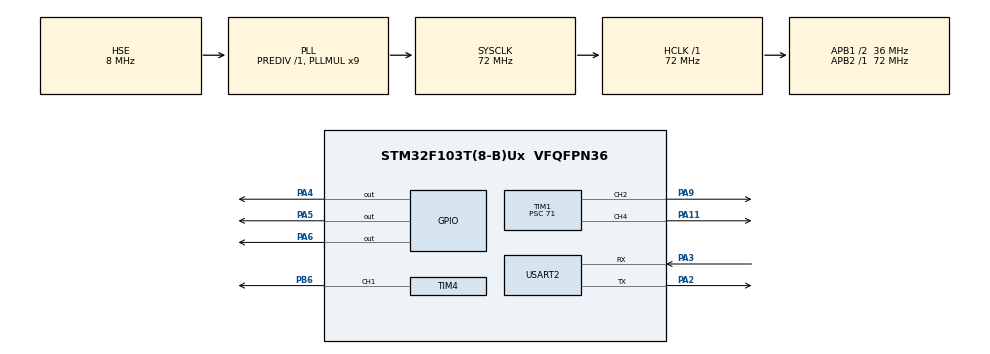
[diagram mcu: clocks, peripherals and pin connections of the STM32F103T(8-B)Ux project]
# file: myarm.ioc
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Mcu.Family=STM32F1
Mcu.Name=STM32F103T(8-B)Ux
Mcu.Package=VFQFPN36
NVIC.PriorityGroup=NVIC_PRIORITYGROUP_4
NVIC.USART2_IRQn=true\:0\:0\:false\:false\:true\:true\:true\:true
PA11.Signal=S_TIM1_CH4
PA2.Mode=Asynchronous
PA2.Signal=USART2_TX
PA3.Mode=Asynchronous
PA3.Signal=USART2_RX
PA4.Signal=GPIO_Output
PA5.Signal=GPIO_Output
PA6.Signal=GPIO_Output
PA9.Signal=S_TIM1_CH2
PB6.Signal=S_TIM4_CH1
PD0-OSC_IN.Mode=HSE-External-Oscillator
PD0-OSC_IN.Signal=RCC_OSC_IN
PD1-OSC_OUT.Mode=HSE-External-Oscillator
PD1-OSC_OUT.Signal=RCC_OSC_OUT
ProjectManager.HeapSize=0x200
ProjectManager.StackSize=0x400
ProjectManager.TargetToolchain=Makefile
RCC.AHBFreq_Value=72000000
RCC.APB1CLKDivider=RCC_HCLK_DIV2
RCC.APB1Freq_Value=36000000
RCC.APB1TimFreq_Value=72000000
RCC.APB2Freq_Value=72000000
RCC.APB2TimFreq_Value=72000000
RCC.HCLKFreq_Value=72000000
RCC.PLLMUL=RCC_PLL_MUL9
RCC.PLLSourceVirtual=RCC_PLLSOURCE_HSE
RCC.SYSCLKFreq_VALUE=72000000
RCC.SYSCLKSource=RCC_SYSCLKSOURCE_PLLCLK
RCC.USBFreq_Value=72000000
SH.S_TIM1_CH2.0=TIM1_CH2,PWM Generation2 CH2
SH.S_TIM1_CH4.0=TIM1_CH4,PWM Generation4 CH4
SH.S_TIM4_CH1.0=TIM4_CH1,PWM Generation1 CH1
TIM1.Channel-PWM\ Generation2\ CH2=TIM_CHANNEL_2
TIM1.Channel-PWM\ Generation4\ CH4=TIM_CHANNEL_4
TIM1.Period=19999
TIM1.Prescaler=71
TIM1.Pulse-PWM\ Generation2\ CH2=0
TIM1.Pulse-PWM\ Generation4\ CH4=0
TIM4.Channel-PWM\ Generation1\ CH1=TIM_CHANNEL_1
TIM4.Period=19999
TIM4.Prescaler=71
TIM4.Pulse-PWM\ Generation1\ CH1=0
USART2.VirtualMode=VM_ASYNC
VP_SYS_VS_ND.Mode=No_Debug
board=custom

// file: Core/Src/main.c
/* USER CODE BEGIN Header */
/**
 ******************************************************************************
 * @file           : main.c
 * @brief          : Main program body
 ******************************************************************************
 * @attention
 *
 * Copyright (c) 2023 STMicroelectronics.
 * All rights reserved.
 *
 * This software is licensed under terms that can be found in the LICENSE file
 * in the root directory of this software component.
 * If no LICENSE file comes with this software, it is provided AS-IS.
 *
 ******************************************************************************
 */
/* USER CODE END Header */
#include "main.h"
#include "tim.h"
#include "usart.h"
#include "gpio.h"

/* USER CODE BEGIN Includes */
#include "serial.h"
#include "servo.h"
#include "control.h"
/* USER CODE END Includes */

/* USER CODE BEGIN PV */
extern uint8_t recvMsg;
/* USER CODE END PV */

void SystemClock_Config(void);

/* USER CODE BEGIN 0 */
extern point_t endpos;
extern angle_t endagl;
/* USER CODE END 0 */

int main(void)
{

  /* MCU Configuration--------------------------------------------------------*/

  /* Reset of all peripherals, Initializes the Flash interface and the Systick. */
  HAL_Init();

  /* Configure the system clock */
  SystemClock_Config();

  /* Initialize all configured peripherals */
  MX_GPIO_Init();
  MX_TIM1_Init();
  MX_TIM4_Init();
  MX_USART2_UART_Init();
  /* USER CODE BEGIN 2 */

  // �???启pwm
  HAL_TIM_PWM_Start(&htim1, TIM_CHANNEL_2);
  HAL_TIM_PWM_Start(&htim1, TIM_CHANNEL_4);
  HAL_TIM_PWM_Start(&htim4, TIM_CHANNEL_1);
  // �???启串口中�???
  HAL_UART_Receive_IT(&huart2, (uint8_t *)&recvMsg, 1);
  USART_IN;

  // 转到默认角度
  endagl.j1 = 0, endagl.j2 = 80, endagl.j3 = 20;
  endpos = angleToPoint(endagl);
  movea(endagl);
  /* USER CODE END 2 */

  /* Infinite loop */
  while (1)
  {

    /* USER CODE BEGIN 3 */

    if (UART_available() != 0)
    {
      char cmd[200];
      int cnt;
      cnt = readStr(cmd);
      // m_printf("%s\n", cmd);
      parexc(cmd, cnt);
    }
  }
  /* USER CODE END 3 */
}

void SystemClock_Config(void)
{
  RCC_OscInitTypeDef RCC_OscInitStruct = {0};
  RCC_ClkInitTypeDef RCC_ClkInitStruct = {0};

  /** Initializes the RCC Oscillators according to the specified parameters
   * in the RCC_OscInitTypeDef structure.
   */
  RCC_OscInitStruct.OscillatorType = RCC_OSCILLATORTYPE_HSE;
  RCC_OscInitStruct.HSEState = RCC_HSE_ON;
  RCC_OscInitStruct.HSEPredivValue = RCC_HSE_PREDIV_DIV1;
  RCC_OscInitStruct.HSIState = RCC_HSI_ON;
  RCC_OscInitStruct.PLL.PLLState = RCC_PLL_ON;
  RCC_OscInitStruct.PLL.PLLSource = RCC_PLLSOURCE_HSE;
  RCC_OscInitStruct.PLL.PLLMUL = RCC_PLL_MUL9;
  if (HAL_RCC_OscConfig(&RCC_OscInitStruct) != HAL_OK)
  {
    Error_Handler();
  }

  /** Initializes the CPU, AHB and APB buses clocks
   */
  RCC_ClkInitStruct.ClockType = RCC_CLOCKTYPE_HCLK | RCC_CLOCKTYPE_SYSCLK | RCC_CLOCKTYPE_PCLK1 | RCC_CLOCKTYPE_PCLK2;
  RCC_ClkInitStruct.SYSCLKSource = RCC_SYSCLKSOURCE_PLLCLK;
  RCC_ClkInitStruct.AHBCLKDivider = RCC_SYSCLK_DIV1;
  RCC_ClkInitStruct.APB1CLKDivider = RCC_HCLK_DIV2;
  RCC_ClkInitStruct.APB2CLKDivider = RCC_HCLK_DIV1;

  if (HAL_RCC_ClockConfig(&RCC_ClkInitStruct, FLASH_LATENCY_2) != HAL_OK)
  {
    Error_Handler();
  }
}

void Error_Handler(void)
{
  __disable_irq();
  while (1)
  {
  }
}
